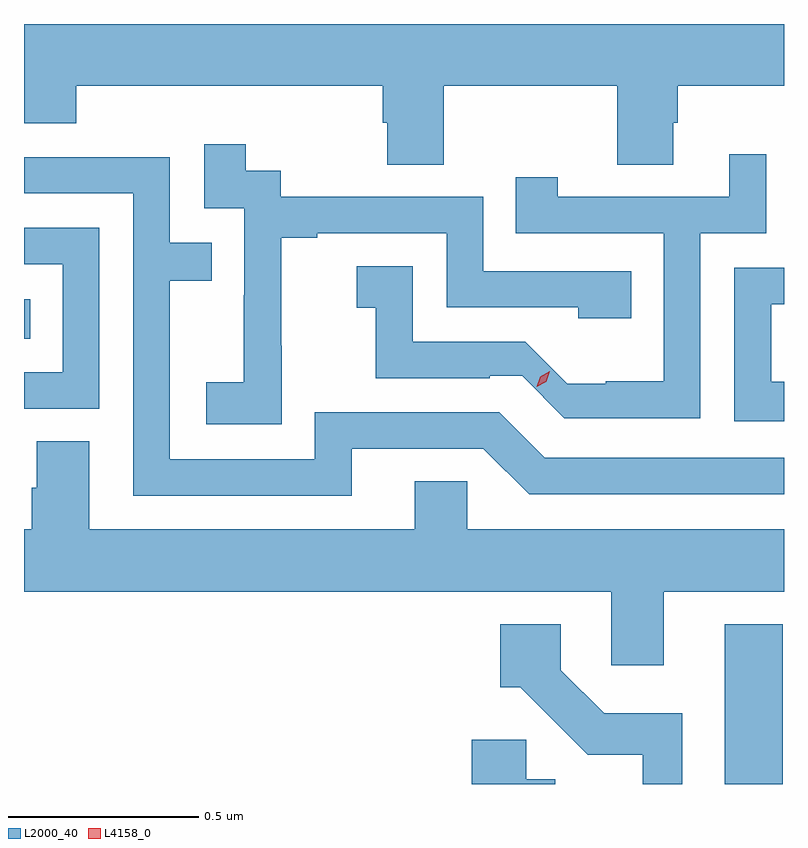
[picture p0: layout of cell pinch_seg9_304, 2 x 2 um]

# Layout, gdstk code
import gdstk
lib = gdstk.Library(unit=1e-6, precision=1e-09)
def R(c, l, rs):  # rectangles x0, y0, x1, y1
    for r in rs: c.add(gdstk.rectangle(r[:2], r[2:], *l))
def P(c, l, *ps):  # polygons
    for p in ps: c.add(gdstk.Polygon(p, *l))
L2000_40 = (2000, 40)
L4158_0 = (4158, 0)

pinch_seg9_304 = lib.new_cell('pinch_seg9_304')
R(pinch_seg9_304, L2000_40, [(509.003,1181.262,509.156,1181.683), (507.159,1182.434,507.176,1182.538)])
P(pinch_seg9_304, L2000_40, [(508.263,1183.1),(508.72,1183.1),(508.72,1182.892),(508.867,1182.892),(508.867,1183.002),(508.88,1183.002),(508.88,1183.1),(509.159,1183.1),(509.159,1183.262),(507.159,1183.262),(507.159,1183.001),(507.296,1183.001),(507.296,1183.1),(508.103,1183.1),(508.103,1183.002),(508.115,1183.002),(508.115,1182.892),(508.263,1182.892)],
  [(507.837,1182.415),(507.836,1182.415),(507.836,1182.699),(507.931,1182.699),(507.931,1182.711),(508.272,1182.711),(508.272,1182.516),(508.617,1182.516),(508.617,1182.488),(508.757,1182.488),(508.757,1182.612),(508.368,1182.612),(508.368,1182.807),(507.834,1182.807),(507.834,1182.876),(507.742,1182.876),(507.742,1182.946),(507.633,1182.946),(507.633,1182.777),(507.738,1182.777),(507.738,1182.548),(507.737,1182.548),(507.737,1182.319),(507.639,1182.319),(507.639,1182.209),(507.837,1182.209)],
  [(508.938,1182.711),(509.112,1182.711),(509.112,1182.919),(509.015,1182.919),(509.015,1182.807),(508.564,1182.807),(508.564,1182.859),(508.453,1182.859),(508.453,1182.711),(508.842,1182.711),(508.842,1182.322),(508.69,1182.322),(508.69,1182.315),(508.589,1182.315),(508.478,1182.426),(508.182,1182.426),(508.182,1182.625),(508.035,1182.625),(508.035,1182.515),(508.084,1182.515),(508.084,1182.33),(508.385,1182.33),(508.385,1182.336),(508.47,1182.336),(508.581,1182.225),(508.938,1182.225)],
  [(508.021,1182.144),(508.368,1182.144),(508.488,1182.024),(509.159,1182.024),(509.159,1182.12),(508.53,1182.12),(508.41,1182.24),(507.924,1182.24),(507.924,1182.117),(507.543,1182.117),(507.543,1182.586),(507.653,1182.586),(507.653,1182.687),(507.543,1182.687),(507.543,1182.912),(507.159,1182.912),(507.159,1182.816),(507.447,1182.816),(507.447,1182.021),(508.021,1182.021)],
  [(507.357,1182.726),(507.159,1182.726),(507.159,1182.63),(507.261,1182.63),(507.261,1182.345),(507.159,1182.345),(507.159,1182.249),(507.357,1182.249)],
  [(509.159,1182.321),(509.125,1182.321),(509.125,1182.525),(509.159,1182.525),(509.159,1182.621),(509.028,1182.621),(509.028,1182.216),(509.159,1182.216)],
  [(508.843,1181.768),(509.159,1181.768),(509.159,1181.932),(508.326,1181.932),(508.326,1182.059),(508.187,1182.059),(508.187,1181.932),(507.331,1181.932),(507.331,1182.164),(507.192,1182.164),(507.192,1182.041),(507.179,1182.041),(507.179,1181.932),(507.159,1181.932),(507.159,1181.768),(508.704,1181.768),(508.704,1181.574),(508.843,1181.574)],
  [(508.891,1181.448),(508.686,1181.448),(508.572,1181.562),(508.572,1181.683),(508.412,1181.683),(508.412,1181.516),(508.465,1181.516),(508.643,1181.339),(508.787,1181.339),(508.787,1181.262),(508.891,1181.262)],
  [(508.557,1181.274),(508.481,1181.274),(508.481,1181.379),(508.337,1181.379),(508.337,1181.262),(508.557,1181.262)])
P(pinch_seg9_304, L4158_0, [(508.508,1182.308),(508.508,1182.308),(508.518,1182.334),(508.542,1182.348),(508.543,1182.348),(508.543,1182.348),(508.533,1182.321),(508.508,1182.308)])

lib.write_gds('pinch_seg9_304.gds')
